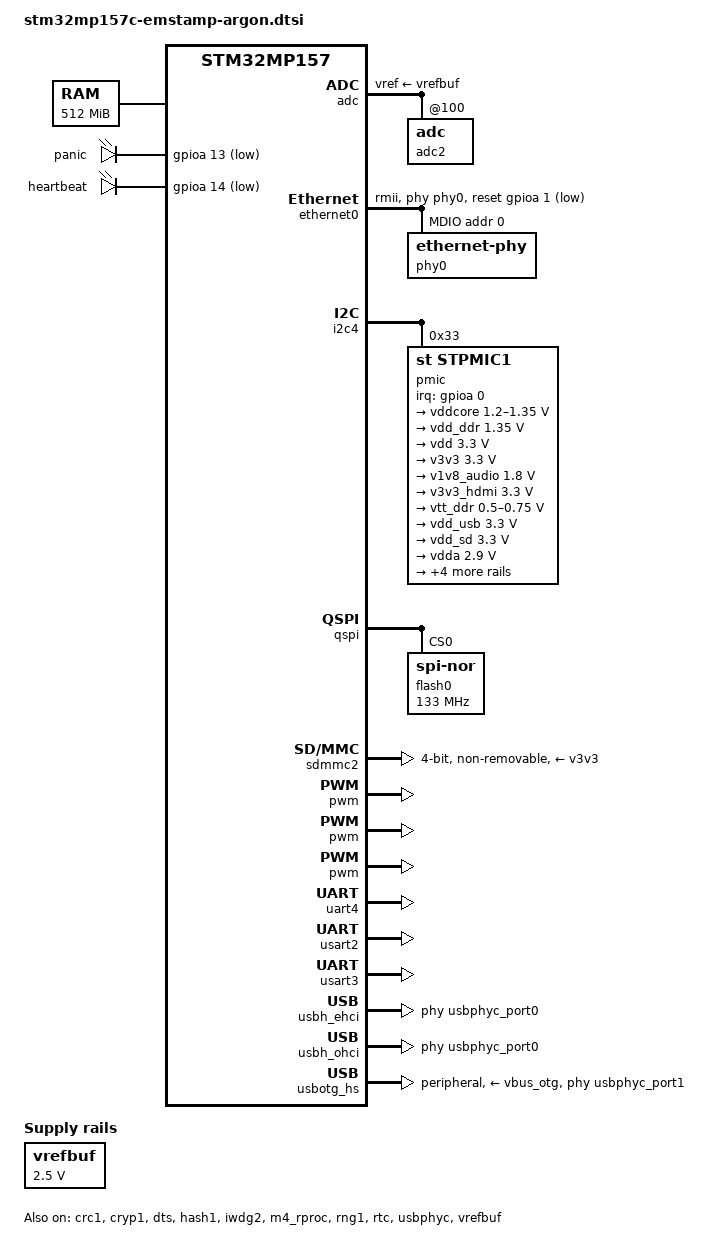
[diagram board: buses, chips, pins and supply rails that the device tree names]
// SPDX-License-Identifier: (GPL-2.0 or MIT)
//
// Copyright (c) 2021 emtrion GmbH
// Author: Reinhold Müller <reinhold.mueller@emtrion.de>.
//

#include "stm32mp157.dtsi"
#include "stm32mp15xc.dtsi"
#include "stm32mp15-pinctrl.dtsi"
#include "stm32mp15xxac-pinctrl.dtsi"
#include <dt-bindings/gpio/gpio.h>
#include <dt-bindings/mfd/st,stpmic1.h>

/ {
	aliases {
		ethernet0 = &ethernet0;
		serial0 = &uart4;
		serial1 = &usart2;
		serial2 = &usart3;
	};

	chosen {
		stdout-path = "serial0:115200n8";
	};

	memory@c0000000 {
		device_type = "memory";
		reg = <0xc0000000 0x20000000>;
	};

	reserved-memory {
		#address-cells = <1>;
		#size-cells = <1>;
		ranges;

		mcuram2: mcuram2@10000000 {
			compatible = "shared-dma-pool";
			reg = <0x10000000 0x40000>;
			no-map;
		};

		vdev0vring0: vdev0vring0@10040000 {
			compatible = "shared-dma-pool";
			reg = <0x10040000 0x2000>;
			no-map;
		};

		vdev0vring1: vdev0vring1@10042000 {
			compatible = "shared-dma-pool";
			reg = <0x10042000 0x2000>;
			no-map;
		};

		vdev0buffer: vdev0buffer@10044000 {
			compatible = "shared-dma-pool";
			reg = <0x10044000 0x4000>;
			no-map;
		};

		mcuram: mcuram@30000000 {
			compatible = "shared-dma-pool";
			reg = <0x30000000 0x40000>;
			no-map;
		};

		retram: retram@38000000 {
			compatible = "shared-dma-pool";
			reg = <0x38000000 0x10000>;
			no-map;
		};
	};

	led: gpio_leds {
		compatible = "gpio-leds";
		led-0 {
			label = "panic";
			gpios = <&gpioa 13 GPIO_ACTIVE_LOW>;
			linux,default-trigger = "none";
			default-state = "off";
			panic-indicator;
		};
		led-1 {
			label = "heartbeat";
			gpios = <&gpioa 14 GPIO_ACTIVE_LOW>;
			linux,default-trigger = "heartbeat";
			default-state = "on";
		};
	};
};

&adc {
	vdd-supply = <&vdd>;
	vdda-supply = <&vdd>;
	vref-supply = <&vrefbuf>;
	status = "okay";

	adc1: adc@0 {
		pinctrl-names = "default";
		pinctrl-0 = <&adc1_in6_pins_a>;
		status = "disabled";
		channel@6 {
			reg = <6>;
			st,min-sample-time-ns = <5000>;
		};
	};

	adc2: adc@100 {
		#address-cells = <1>;
		#size-cells = <0>;
		status = "okay";
		channel@12 {
			reg = <12>;
			label = "sense_temp";
			st,min-sample-time-ns = <9000>;
		};
		channel@15 {
			reg = <15>;
			label = "vbat";
			st,min-sample-time-ns = <9000>;
		};
		channel@16 {
			reg = <16>;
			label = "dac_out1";
			st,min-sample-time-ns = <9000>;
		};
		channel@17 {
			reg = <17>;
			label = "dac_out1";
			st,min-sample-time-ns = <9000>;
		};
	};
};

&crc1 {
	status = "okay";
};

&cryp1 {
	status = "okay";
};

&dac {
	pinctrl-names = "default";
	pinctrl-0 = <&dac_ch1_pins_a &dac_ch2_pins_a>;
	vref-supply = <&vdda>;
	status = "disabled";

	dac1: dac@1 {
		status = "okay";
	};
	dac2: dac@2 {
		status = "okay";
	};
};

&dts {
	status = "okay";
};

&ethernet0 {
	status = "okay";
	snps,reset-gpio = <&gpioa 1 GPIO_ACTIVE_LOW>;
	snps,reset-active-low;
	snps,reset-delays-us = <0 30000 50000>;
	pinctrl-0 = <&ethernet0_rmii_pins_b>;
	pinctrl-1 = <&ethernet0_rmii_sleep_pins_b>;
	pinctrl-names = "default", "sleep";
	phy-mode = "rmii";
	max-speed = <100>;
	phy-handle = <&phy0>;
	st,eth-ref-clk-sel;

	mdio {
		#address-cells = <1>;
		#size-cells = <0>;
		compatible = "snps,dwmac-mdio";
		phy0: ethernet-phy@0 {
			reg = <0>;
		};
	};
};

&hash1 {
	status = "okay";
};

&i2c1 {
	pinctrl-names = "default", "sleep";
	pinctrl-0 = <&i2c1_pins_a>;
	pinctrl-1 = <&i2c1_sleep_pins_a>;
	i2c-scl-rising-time-ns = <100>;
	i2c-scl-falling-time-ns = <7>;
	status = "disabled";
	/delete-property/dmas;
	/delete-property/dma-names;
};

&i2c4 {
	pinctrl-names = "default", "sleep";
	pinctrl-0 = <&i2c4_pins_a>;
	pinctrl-1 = <&i2c4_sleep_pins_a>;
	i2c-scl-rising-time-ns = <185>;
	i2c-scl-falling-time-ns = <20>;
	status = "okay";
	/delete-property/dmas;
	/delete-property/dma-names;

	pmic: stpmic@33 {
		compatible = "st,stpmic1";
		reg = <0x33>;
		interrupts-extended = <&gpioa 0 IRQ_TYPE_EDGE_FALLING>;
		interrupt-controller;
		#interrupt-cells = <2>;
		status = "okay";

		regulators {
			compatible = "st,stpmic1-regulators";

			ldo1-supply = <&v3v3>;
			ldo3-supply = <&vdd_ddr>;
			ldo6-supply = <&v3v3>;
			pwr_sw1-supply = <&bst_out>;
			pwr_sw2-supply = <&bst_out>;

			vddcore: buck1 {
				regulator-name = "vddcore";
				regulator-min-microvolt = <1200000>;
				regulator-max-microvolt = <1350000>;
				regulator-always-on;
				regulator-initial-mode = <0>;
				regulator-over-current-protection;
			};

			vdd_ddr: buck2 {
				regulator-name = "vdd_ddr";
				regulator-min-microvolt = <1350000>;
				regulator-max-microvolt = <1350000>;
				regulator-always-on;
				regulator-initial-mode = <0>;
				regulator-over-current-protection;
			};

			vdd: buck3 {
				regulator-name = "vdd";
				regulator-min-microvolt = <3300000>;
				regulator-max-microvolt = <3300000>;
				regulator-always-on;
				st,mask-reset;
				regulator-initial-mode = <0>;
				regulator-over-current-protection;
			};

			v3v3: buck4 {
				regulator-name = "v3v3";
				regulator-min-microvolt = <3300000>;
				regulator-max-microvolt = <3300000>;
				regulator-always-on;
				regulator-over-current-protection;
				regulator-initial-mode = <0>;
			};

			v1v8_audio: ldo1 {
				regulator-name = "v1v8_audio";
				regulator-min-microvolt = <1800000>;
				regulator-max-microvolt = <1800000>;
				regulator-always-on;
				interrupts = <IT_CURLIM_LDO1 0>;
			};

			v3v3_hdmi: ldo2 {
				regulator-name = "v3v3_hdmi";
				regulator-min-microvolt = <3300000>;
				regulator-max-microvolt = <3300000>;
				regulator-always-on;
				interrupts = <IT_CURLIM_LDO2 0>;
			};

			vtt_ddr: ldo3 {
				regulator-name = "vtt_ddr";
				regulator-min-microvolt = <500000>;
				regulator-max-microvolt = <750000>;
				regulator-always-on;
				regulator-over-current-protection;
			};

			vdd_usb: ldo4 {
				regulator-name = "vdd_usb";
				regulator-min-microvolt = <3300000>;
				regulator-max-microvolt = <3300000>;
				interrupts = <IT_CURLIM_LDO4 0>;
			};

			vdd_sd: ldo5 {
				regulator-name = "vdd_sd";
				regulator-min-microvolt = <3300000>;
				regulator-max-microvolt = <3300000>;
				interrupts = <IT_CURLIM_LDO5 0>;
				regulator-always-on;
			};

			vdda: ldo6 {
				regulator-name = "vdda";
				regulator-min-microvolt = <2900000>;
				regulator-max-microvolt = <2900000>;
				regulator-always-on;
				interrupts = <IT_CURLIM_LDO6 0>;
				regulator-boot-on;
			};

			vref_ddr: vref_ddr {
				regulator-name = "vref_ddr";
				regulator-always-on;
				regulator-over-current-protection;
			};

			bst_out: boost {
				regulator-name = "bst_out";
				interrupts = <IT_OCP_BOOST 0>;
			};

			vbus_otg: pwr_sw1 {
				regulator-name = "vbus_otg";
				interrupts = <IT_OCP_OTG 0>;
				regulator-active-discharge;
			};

			vbus_usbh: pwr_sw2 {
				regulator-name = "usbh_vbus";
				interrupts = <IT_OCP_SWOUT 0>;
				regulator-always-on;
				regulator-boot-on;
			};
		};

		onkey {
			compatible = "st,stpmic1-onkey";
			interrupts = <IT_PONKEY_F 0>, <IT_PONKEY_R 1>;
			interrupt-names = "onkey-falling", "onkey-rising";
			status = "okay";
		};

		watchdog {
			compatible = "st,stpmic1-wdt";
			status = "disabled";
		};
	};
};

&i2c5 {
	pinctrl-names = "default", "sleep";
	pinctrl-0 = <&i2c5_pins_a>;
	pinctrl-1 = <&i2c5_sleep_pins_a>;
	i2c-scl-rising-time-ns = <185>;
	i2c-scl-falling-time-ns = <20>;
	/delete-property/dmas;
	/delete-property/dma-names;
};

&ipcc {
	status = "okay";
};

&iwdg2 {
	timeout-sec = <32>;
	status = "okay";
};

&m4_rproc {
	memory-region = <&retram>, <&mcuram>, <&mcuram2>, <&vdev0vring0>,
			<&vdev0vring1>, <&vdev0buffer>;
	mboxes = <&ipcc 0>, <&ipcc 1>, <&ipcc 2>, <&ipcc 3>;
	mbox-names = "vq0", "vq1", "shutdown", "detach";
	interrupt-parent = <&exti>;
	interrupts = <68 1>;
	interrupt-names = "wdg";
	recovery;
	status = "okay";
};

&pwr_regulators {
	vdd-supply = <&vdd>;
	vdd_3v3_usbfs-supply = <&vdd_usb>;
};

&qspi {
	pinctrl-names = "default", "sleep";
	pinctrl-0 = <&qspi_clk_pins_a
		     &qspi_bk1_pins_a
		     &qspi_cs1_pins_a>;
	pinctrl-1 = <&qspi_clk_sleep_pins_a
		     &qspi_bk1_sleep_pins_a
		     &qspi_cs1_sleep_pins_a>;
	reg = <0x58003000 0x1000>, <0x70000000 0x4000000>;
	#address-cells = <1>;
	#size-cells = <0>;
	status = "okay";

	flash0: flash@0 {
		compatible = "jedec,spi-nor";
		reg = <0>;
		spi-max-frequency = <133000000>;
		spi-rx-bus-width = <1>;
		spi-tx-bus-width = <1>;
		#address-cells = <1>;
		#size-cells = <1>;
	};
};

&rng1 {
	status = "okay";
};

&rtc {
	status = "okay";
};

&sdmmc2 {
	arm,primecell-periphid = <0x10153180>;
	pinctrl-names = "default", "opendrain", "sleep";
	pinctrl-0 = <&sdmmc2_b4_pins_b>;
	pinctrl-1 = <&sdmmc2_b4_od_pins_b>;
	pinctrl-2 = <&sdmmc2_b4_sleep_pins_a>;
	non-removable;
	st,neg-edge;
	bus-width = <4>;
	vmmc-supply = <&v3v3>;
	status = "okay";
};

&spi1 {
	pinctrl-names = "default";
	pinctrl-0 = <&spi1_pins_a>;
	cs-gpios = <&gpioz 3 0>;
	status = "disabled";
};

&timers1 {
	/* spare dmas for other usage */
	/delete-property/dmas;
	/delete-property/dma-names;
	pwm {
		pinctrl-0 = <&pwm1_pins_b>;
		pinctrl-1 = <&pwm1_sleep_pins_b>;
		pinctrl-names = "default", "sleep";
		status = "okay";
	};
	timer@0 {
		status = "okay";
	};
};

&timers4 {
	/delete-property/dmas;
	/delete-property/dma-names;
	pwm {
		pinctrl-0 = <&pwm4_pins_b>;
		pinctrl-1 = <&pwm4_sleep_pins_b>;
		pinctrl-names = "default", "sleep";
		status = "okay";
	};
	timer@3 {
		status = "okay";
	};
};

&timers5 {
	/delete-property/dmas;
	/delete-property/dma-names;
	pwm {
		pinctrl-0 = <&pwm5_pins_a>;
		pinctrl-1 = <&pwm5_sleep_pins_a>;
		pinctrl-names = "default", "sleep";
		status = "okay";
	};
	timer@4 {
		status = "okay";
	};
};

&uart4 {
	pinctrl-names = "default", "sleep", "idle";
	pinctrl-0 = <&uart4_pins_a>;
	pinctrl-1 = <&uart4_sleep_pins_a>;
	pinctrl-2 = <&uart4_idle_pins_a>;
	status = "okay";
};

&usart2 {
	pinctrl-names = "default", "sleep";
	pinctrl-0 = <&usart2_pins_a>;
	pinctrl-1 = <&usart2_sleep_pins_a>;
	status = "okay";
};

&usart3 {
	pinctrl-names = "default", "sleep", "idle";
	pinctrl-0 = <&usart3_pins_d>;
	pinctrl-1 = <&usart3_sleep_pins_d>;
	pinctrl-2 = <&usart3_idle_pins_d>;
	status = "okay";
};

&usbh_ehci {
	phys = <&usbphyc_port0>;
	phy-names = "usb";
	status = "okay";
};

&usbh_ohci {
	phys = <&usbphyc_port0>;
	phy-names = "usb";
	status = "okay";
};

&usbotg_hs {
	dr_mode = "peripheral";
	pinctrl-names = "default";
	pinctrl-0 = <&usbotg_hs_pins_a>;
	phy-names = "usb2-phy";
	phys = <&usbphyc_port1 0>;
	vbus-supply = <&vbus_otg>;
	status = "okay";
};

&usbphyc {
	status = "okay";
};

&usbphyc_port0 {
	phy-supply = <&vdd_usb>;
};

&usbphyc_port1 {
	phy-supply = <&vdd_usb>;
};

&vrefbuf {
	regulator-min-microvolt = <2500000>;
	regulator-max-microvolt = <2500000>;
	vdda-supply = <&vdd>;
	status = "okay";
};

